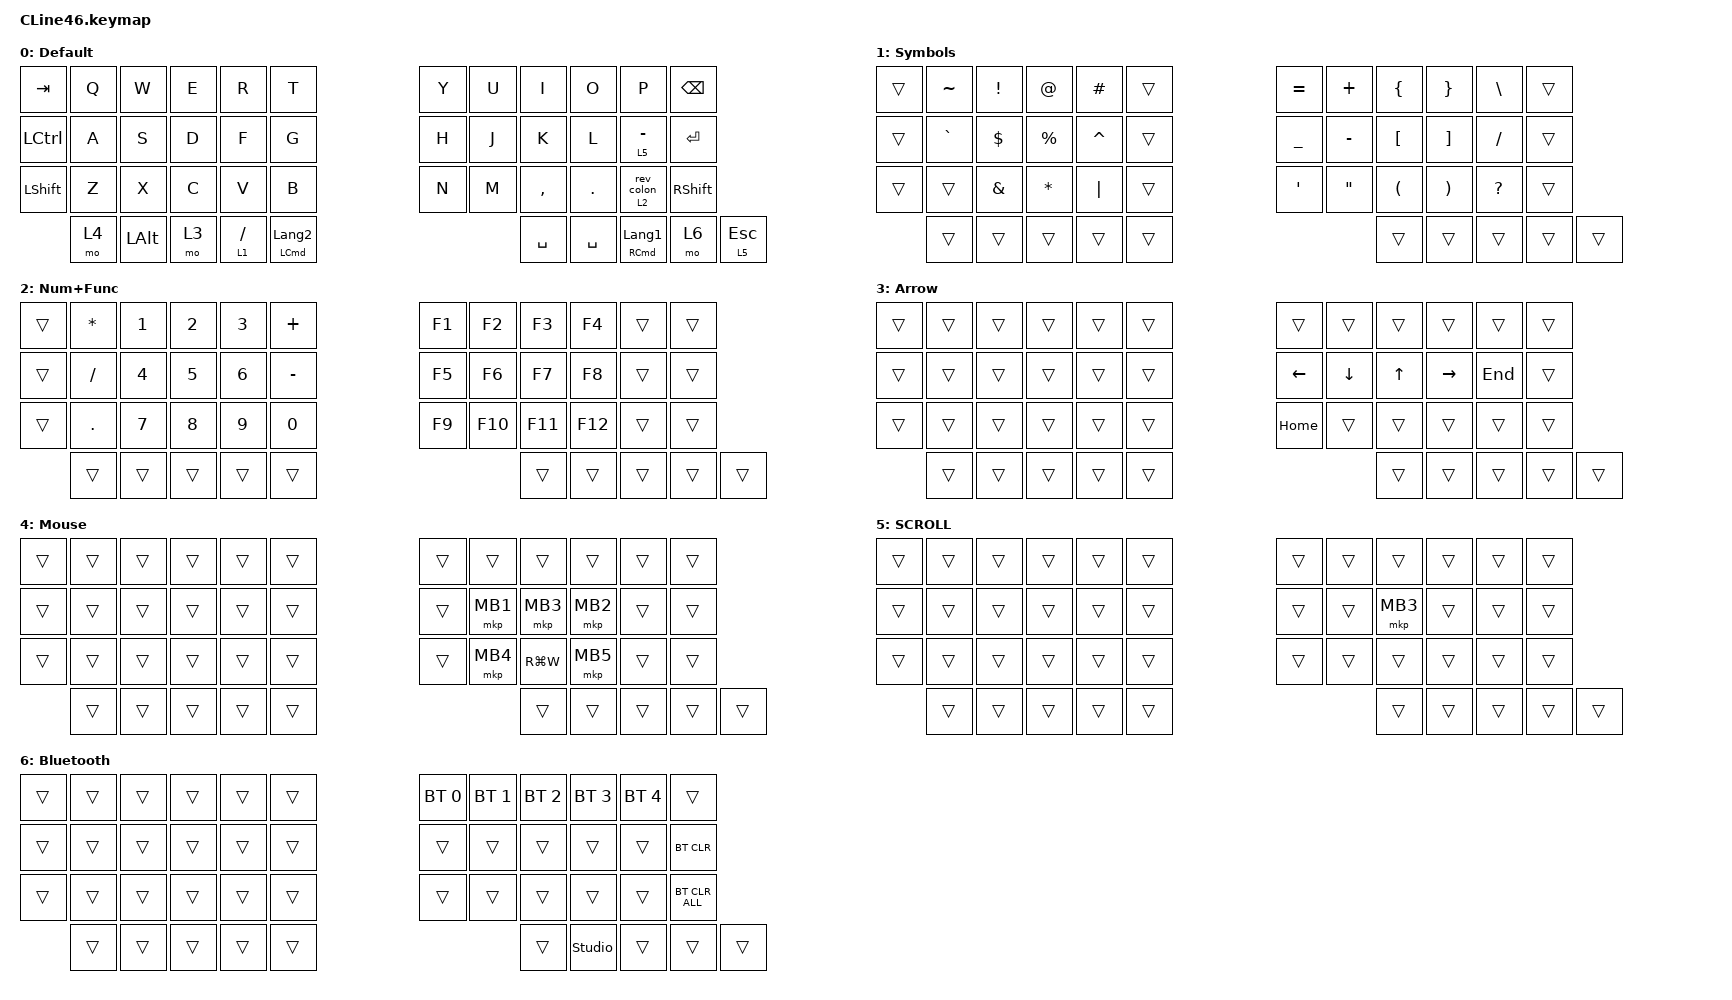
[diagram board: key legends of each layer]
#include <input/processors.dtsi>
#include <dt-bindings/zmk/input_transform.h>
#include <zephyr/dt-bindings/input/input-event-codes.h>
#include <behaviors.dtsi>
#include <dt-bindings/zmk/bt.h>
#include <dt-bindings/zmk/keys.h>
#include <dt-bindings/zmk/pointing.h>

&mt {
    flavor = "balanced";
    quick-tap-ms = <0>;
};

&lt { tapping-term-ms = <175>; };

/ {
    combos {
        compatible = "zmk,combos";

        shift_tab {
            bindings = <&kp LS(TAB)>;
            key-positions = <12 13>;
        };
    };

    macros {
        to_layer_0: to_layer_0 {
            compatible = "zmk,behavior-macro-one-param";
            #binding-cells = <1>;
            bindings = <&to 0 &macro_param_1to1 &kp MACRO_PLACEHOLDER>;
            label = "TO_LAYER_0";
        };

        exit_AML: exit_AML {
            compatible = "zmk,behavior-macro";
            wait-ms = <0>;
            tap-ms = <0>;
            #binding-cells = <0>;
            bindings = <&tog_off 4>;          // レイヤー4(Mouse)を OFF
            label = "exit_AML";
        };

        kp_exit_AML: kp_exit_AML {
            compatible = "zmk,behavior-macro-one-param";
            wait-ms = <0>;
            tap-ms = <0>;
            #binding-cells = <1>;
            bindings = <&macro_param_1to1 &kp MACRO_PLACEHOLDER &exit_AML>;  // キー送出→AML解除
            label = "kp_exit_AML";
        };
    };

    behaviors {
        lt_to_layer_0: lt_to_layer_0 {
            compatible = "zmk,behavior-hold-tap";
            label = "LAYER_TAP_TO_0";
            bindings = <&mo>, <&to_layer_0>;

            #binding-cells = <2>;
            tapping-term-ms = <200>;
        };

        hmt: hold_preferred_mod_tap {
            compatible = "zmk,behavior-hold-tap";
            label = "Hold-preferred Mod Tap";
            bindings = <&kp>, <&kp>;

            #binding-cells = <2>;
            tapping-term-ms = <200>;
        };

        rev_colon: rev_colon {
            compatible = "zmk,behavior-mod-morph";
            label = "Reverse colon semi-colon";
            bindings = <&kp COLON>, <&kp SEMI>;

            #binding-cells = <0>;
            mods = <(MOD_LSFT)>;
        };

        hmt_colon: hmt_colon {
            compatible = "zmk,behavior-hold-tap";
            label = "HMT_COLON";
            bindings = <&mo>, <&rev_colon>;

            #binding-cells = <2>;
            tapping-term-ms = <200>;
        };

        tog_off: toggle_layer_off {
            compatible = "zmk,behavior-toggle-layer";
            #binding-cells = <1>;
            display-name = "Toggle Layer Off";
            toggle-mode = "off";
        };

        mt_exit_AML_on_tap: mt_exit_AML_on_tap {
            compatible = "zmk,behavior-hold-tap";
            label = "mt_exit_AML_on_tap";
            bindings = <&kp>, <&kp_exit_AML>;   // hold=修飾キー / tap=キー送出+AML解除

            #binding-cells = <2>;
            tapping-term-ms = <200>;            // 既存 hmt と同じ(flavor 未指定=hold-preferred)
        };
    };

    keymap {
        compatible = "zmk,keymap";

        Default {
            bindings = <
&kp TAB     &kp Q  &kp W         &kp E  &kp R        &kp T                                                 &kp Y                          &kp U  &kp I      &kp O    &kp P           &kp BSPC
&kp LCTRL   &kp A  &kp S         &kp D  &kp F        &kp G                                                 &kp H                          &kp J  &kp K      &kp L    &lt 5 MINUS     &kp ENTER
&kp LSHIFT  &kp Z  &kp X         &kp C  &kp V        &kp B                                                 &kp N                          &kp M  &kp COMMA  &kp DOT  &hmt_colon 2 0  &kp RSHIFT
            &mo 4  &kp LEFT_ALT  &mo 3  &lt 1 SLASH  &mt_exit_AML_on_tap LEFT_COMMAND LANGUAGE_2  &kp SPACE    &kp SPACE  &mt_exit_AML_on_tap RIGHT_COMMAND LANGUAGE_1                    &mo 6    &lt 5 ESCAPE
            >;
        };

        Symbols {
            bindings = <
&trans  &kp TILDE  &kp EXCLAMATION  &kp AT_SIGN   &kp HASH   &trans                    &kp EQUAL         &kp PLUS           &kp LEFT_BRACE        &kp RIGHT_BRACE        &kp BSLH      &trans
&trans  &kp GRAVE  &kp DOLLAR       &kp PERCENT   &kp CARET  &trans                    &kp UNDERSCORE    &kp MINUS          &kp LBKT              &kp RBKT               &kp FSLH      &trans
&trans  &trans     &kp AMPERSAND    &kp ASTERISK  &kp PIPE   &trans                    &kp SINGLE_QUOTE  &kp DOUBLE_QUOTES  &kp LEFT_PARENTHESIS  &kp RIGHT_PARENTHESIS  &kp QUESTION  &trans
        &trans     &trans           &trans        &trans     &trans  &trans    &trans  &trans                                                     &trans                 &trans
            >;
        };

        Num+Func {
            bindings = <
&trans  &kp ASTERISK  &kp N1  &kp N2  &kp N3  &kp PLUS                     &kp F1  &kp F2   &kp F3   &kp F4   &trans  &trans
&trans  &kp FSLH      &kp N4  &kp N5  &kp N6  &kp MINUS                    &kp F5  &kp F6   &kp F7   &kp F8   &trans  &trans
&trans  &kp DOT       &kp N7  &kp N8  &kp N9  &kp N0                       &kp F9  &kp F10  &kp F11  &kp F12  &trans  &trans
        &trans        &trans  &trans  &trans  &trans     &trans    &trans  &trans                    &trans   &trans
            >;
        };

        Arrow {
            bindings = <
&trans  &trans  &trans  &trans  &trans  &trans                    &trans    &trans    &trans  &trans     &trans   &trans
&trans  &trans  &trans  &trans  &trans  &trans                    &kp LEFT  &kp DOWN  &kp UP  &kp RIGHT  &kp END  &trans
&trans  &trans  &trans  &trans  &trans  &trans                    &kp HOME  &trans    &trans  &trans     &trans   &trans
        &trans  &trans  &trans  &trans  &trans  &trans    &trans  &trans                      &trans     &trans
            >;
        };

        Mouse {
            bindings = <
&trans  &trans  &trans  &trans  &trans  &trans                    &trans  &trans    &trans     &trans    &trans  &trans
&trans  &trans  &trans  &trans  &trans  &trans                    &trans  &mkp MB1  &mkp MB3   &mkp MB2  &trans  &trans
&trans  &trans  &trans  &trans  &trans  &trans                    &trans  &mkp MB4  &kp RG(W)  &mkp MB5  &trans  &trans
        &trans  &trans  &trans  &trans  &trans  &trans    &trans  &trans                       &trans    &trans
            >;
        };

        SCROLL {
            bindings = <
&trans  &trans  &trans  &trans  &trans  &trans                    &trans  &trans  &trans    &trans  &trans  &trans
&trans  &trans  &trans  &trans  &trans  &trans                    &trans  &trans  &mkp MB3  &trans  &trans  &trans
&trans  &trans  &trans  &trans  &trans  &trans                    &trans  &trans  &trans    &trans  &trans  &trans
        &trans  &trans  &trans  &trans  &trans  &trans    &trans  &trans                    &trans  &trans
            >;
        };

        Bluetooth {
            bindings = <
&trans  &trans  &trans  &trans  &trans  &trans                            &bt BT_SEL 0  &bt BT_SEL 1  &bt BT_SEL 2  &bt BT_SEL 3  &bt BT_SEL 4  &trans
&trans  &trans  &trans  &trans  &trans  &trans                            &trans        &trans        &trans        &trans        &trans        &bt BT_CLR
&trans  &trans  &trans  &trans  &trans  &trans                            &trans        &trans        &trans        &trans        &trans        &bt BT_CLR_ALL
        &trans  &trans  &trans  &trans  &trans  &trans    &studio_unlock  &trans                                    &trans        &trans
            >;
        };
    };
};
